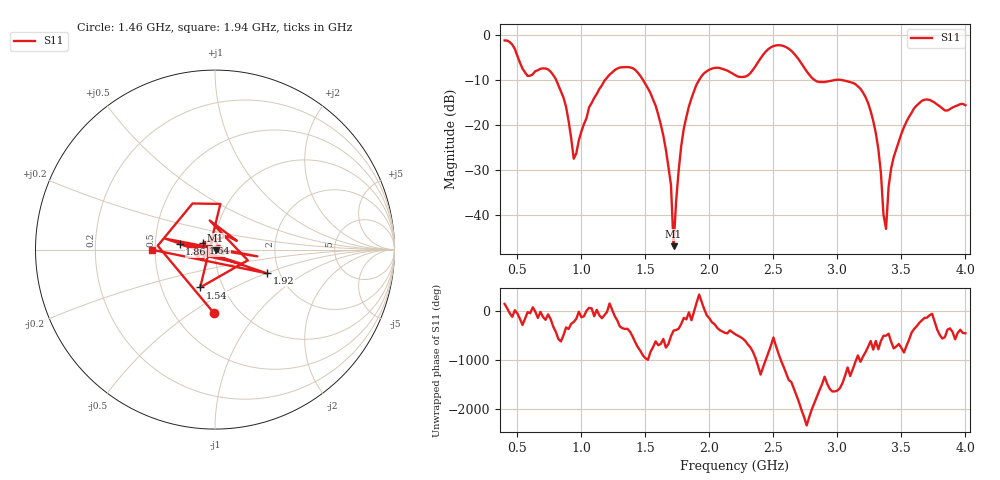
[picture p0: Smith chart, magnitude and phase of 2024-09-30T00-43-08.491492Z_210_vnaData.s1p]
!Created with skrf (http://scikit-rf.org).
# Hz S RI R 50.0
!freq ReS11 ImS11
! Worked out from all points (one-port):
!   181 points, 400 MHz to 4 GHz, reference 50 ohm
!   lowest |S11| = -46.8 dB at 1.72 GHz (marker M1), VSWR 1.01, Z = 50.3 - j0.3 ohm
!   |S11| at or under -10 dB: 803.3 MHz to 1.184 GHz (380.5 MHz wide, 38.3 % of centre); 1.482 GHz to 1.919 GHz (437.2 MHz wide, 25.7 % of centre); 3.037 GHz to end of sweep (the widest 3 of 4)
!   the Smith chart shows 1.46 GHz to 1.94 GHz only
!   S11 on the Smith chart (normalised r, x): 1.46 GHz: 0.77, -0.62; 1.54 GHz: 0.78, -0.35; 1.64 GHz: 0.87, +0.07; 1.86 GHz: 0.67, +0.04; 1.92 GHz: 1.72, -0.50; 1.94 GHz: 0.48, -0.00
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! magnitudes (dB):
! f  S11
! 400 MHz  -1.2
! 580 MHz  -9.1
! 760 MHz  -8.1
! 860 MHz  -13.9
! 940 MHz  -27.4
! 1.06 GHz  -16.0
! 1.3 GHz  -7.2
! 1.46 GHz  -9.0
! 1.54 GHz  -12.9
! 1.64 GHz  -22.3
! 1.7 GHz  -33.3
! 1.72 GHz  -46.8
! 1.76 GHz  -30.0
! 1.86 GHz  -14.0
! 1.92 GHz  -10.0
! 1.94 GHz  -9.1
! 2.2 GHz  -8.9
! 2.5 GHz  -2.5
! 2.66 GHz  -4.1
! 2.84 GHz  -10.3
! 3.1 GHz  -10.4
! 3.28 GHz  -19.0
! 3.32 GHz  -25.3
! 3.38 GHz  -43.0
! 3.42 GHz  -29.5
! 3.56 GHz  -18.1
! 3.68 GHz  -14.3
! 4 GHz  -15.6
